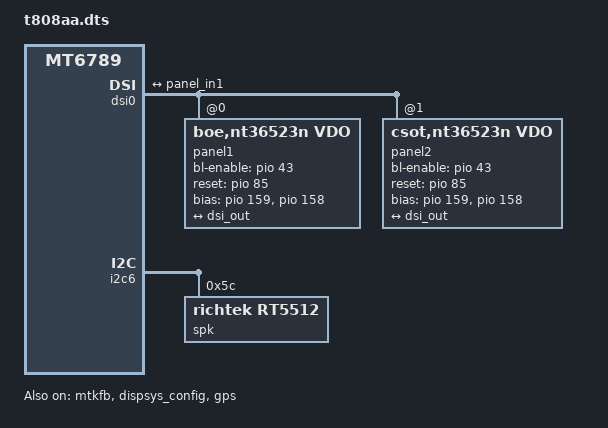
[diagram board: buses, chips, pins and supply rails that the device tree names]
// SPDX-License-Identifier: (GPL-2.0 OR MIT)
/*
 * Copyright (C) 2021 MediaTek Inc.
 */
/dts-v1/;
/plugin/;
#include <dt-bindings/interrupt-controller/arm-gic.h>
#include <dt-bindings/interrupt-controller/irq.h>
#include <dt-bindings/pinctrl/mt6789-pinfunc.h>
#include "mediatek/cust_mt6789_camera.dtsi"

&chosen {
};

&android {
	hardware = "mt8781";
};

&mtk_leds {
	compatible = "mediatek,disp-leds";
	backlight {
		led_mode = <4>;
		trans-bits = <11>;
		max-brightness = <255>;
		max-hw-brightness = <2047>;
	};
};

&pio {
	mtkfb_pins_lcd_bias_enp0: lcd_bias_enp0_gpio {
		pins_cmd_dat {
			pinmux = <PINMUX_GPIO159__FUNC_GPIO159>;
			slew-rate = <1>;
			output-high;
		};
	};

	mtkfb_pins_lcd_bias_enn0: lcd_bias_enn0_gpio {
		pins_cmd_dat {
			pinmux = <PINMUX_GPIO158__FUNC_GPIO158>;
			slew-rate = <1>;
			output-low;
		};
	};
	mtkfb_pins_gpio_bl_on: gpio_bl_on_gpio {
		pins_cmd_dat {
			pinmux = <PINMUX_GPIO43__FUNC_GPIO43>;
			slew-rate = <1>;
			output-low;
		};
	};
	mtkfb_pins_gpio_vddi_on: gpio_vddi_on_gpio {
		pins_cmd_dat {
			pinmux = <PINMUX_GPIO18__FUNC_GPIO18>;
			slew-rate = <1>;
			output-low;
		};
	};

	mtkfb_pins_lcm_rst_out1_gpio: lcm_rst_out1_gpio {
		pins_cmd_dat {
			pinmux = <PINMUX_GPIO85__FUNC_GPIO85>;
			slew-rate = <1>;
			output-high;
		};
	};

	mtkfb_pins_lcm_rst_out0_gpio: lcm_rst_out0_gpio {
		pins_cmd_dat {
			pinmux = <PINMUX_GPIO85__FUNC_GPIO85>;
			slew-rate = <1>;
			output-low;
		};
	};
	mtkfb_pins_lcm_dsi_te: lcm_dsi_te {
		pins_cmd_dat {
			pinmux = <PINMUX_GPIO83__FUNC_DSI_TE>;
		};
	};
};

&mtkfb {
	pinctrl-names = "lcd_bias_enp0_gpio", "lcd_bias_enn0_gpio","gpio_bl_on_gpio",

		"lcm_rst_out1_gpio", "lcm_rst_out0_gpio",
		"mode_te_te", "gpio_vddi_on_gpio";
	pinctrl-0 = <&mtkfb_pins_lcd_bias_enp0>;
	pinctrl-1 = <&mtkfb_pins_lcd_bias_enn0>;
	pinctrl-2 = <&mtkfb_pins_gpio_bl_on>;


	pinctrl-3 = <&mtkfb_pins_lcm_rst_out1_gpio>;
	pinctrl-4 = <&mtkfb_pins_lcm_rst_out0_gpio>;
	pinctrl-5 = <&mtkfb_pins_lcm_dsi_te>;
	pinctrl-6 = <&mtkfb_pins_gpio_vddi_on>;
	status = "okay";
};

&dispsys_config {
	pinctrl-names =
		"lcm_rst_out1_gpio", "lcm_rst_out0_gpio",
		"mode_te_te";
	pinctrl-0 = <&mtkfb_pins_lcm_rst_out1_gpio>;
	pinctrl-1 = <&mtkfb_pins_lcm_rst_out0_gpio>;
	pinctrl-2 = <&mtkfb_pins_lcm_dsi_te>;
	status = "okay";
};

&dsi0 {
	status = "okay";
	#address-cells = <1>;
	#size-cells = <0>;
	panel1@0 {
		compatible = "boe,nt36523n,vdo";
		reg = <0>;
		bl-enable-gpios = <&pio 43 0>;
		reset-gpios = <&pio 85 0>;
		bias-gpios = <&pio 159 0>,
		<&pio 158 0>;
		//gate-ic = <4831>;
		pinctrl-names = "default";
		port {
			panel_in1: endpoint {
				remote-endpoint = <&dsi_out>;
			};
		};
	};
	panel2@0 {
		compatible = "csot,nt36523n,vdo";
		reg = <1>;
		bl-enable-gpios = <&pio 43 0>;
		reset-gpios = <&pio 85 0>;
		bias-gpios = <&pio 159 0>,
		<&pio 158 0>;
		pinctrl-names = "default";
		port {
			panel_in2: endpoint {
				remote-endpoint = <&dsi_out>;
			};
		};
	};
	ports {
		port {
			dsi_out: endpoint {
				remote-endpoint = <&panel_in1>;
			};
		};
	};
};

/* GPS GPIO standardization start */
&pio {
	gps_pins_default: gps_default {
	};
	gps_l1_lna_pins_ol: gps_l1_lna@0 {
		pins_cmd_dat {
			pinmux = <PINMUX_GPIO25__FUNC_GPIO25>;
			output-low;
		};
	};
	gps_l1_lna_pins_dsp_ctrl: gps_l1_lna@1 {
		pins_cmd_dat {
			pinmux = <PINMUX_GPIO25__FUNC_GPS_L1_ELNA_EN>;
		};
	};
	gps_l1_lna_pins_oh: gps_l1_lna@2 {
		pins_cmd_dat {
			pinmux = <PINMUX_GPIO25__FUNC_GPIO25>;
			output-high;
		};
	};
	gps_l5_lna_pins_ol: gps_l5_lna@0 {
		pins_cmd_dat {
			pinmux = <PINMUX_GPIO26__FUNC_GPIO26>;
			output-low;
		};
	};
	gps_l5_lna_pins_dsp_ctrl: gps_l5_lna@1 {
		pins_cmd_dat {
			pinmux = <PINMUX_GPIO26__FUNC_GPS_L5_ELNA_EN>;
		};
	};
	gps_l5_lna_pins_oh: gps_l5_lna@2 {
		pins_cmd_dat {
			pinmux = <PINMUX_GPIO26__FUNC_GPIO26>;
			output-high;
		};
	};
};
&gps {
	pinctrl-names = "default",
		"gps_l1_lna_disable",
		"gps_l1_lna_dsp_ctrl",
		"gps_l1_lna_enable",
		"gps_l5_lna_disable",
		"gps_l5_lna_dsp_ctrl",
		"gps_l5_lna_enable";
	pinctrl-0 = <&gps_pins_default>;
	pinctrl-1 = <&gps_l1_lna_pins_ol>;
	pinctrl-2 = <&gps_l1_lna_pins_dsp_ctrl>;
	pinctrl-3 = <&gps_l1_lna_pins_oh>;
	pinctrl-4 = <&gps_l5_lna_pins_ol>;
	pinctrl-5 = <&gps_l5_lna_pins_dsp_ctrl>;
	pinctrl-6 = <&gps_l5_lna_pins_oh>;
	status = "okay";
};
/* GPS GPIO standardization end */

#include "mediatek/cust_mt6789_touch_1080x2400.dtsi"
#include "mediatek/cust_mt6789_camera_v4l2.dtsi"

&i2c6 {
	spk: speaker_amp@5c {
		compatible = "richtek,rt5512";
		#sound-dai-cells = <0>;
		reg = <0x5c>;
		status = "okay";
		sound-name-prefix = "Left";
	};
};

&sound {
	mediatek,spk-i2s = <3 0>;
	mediatek,speaker-codec {
		sound-dai = <&spk>;
	};
};

&mddriver {
	ref_args = "md_disable";
};

#include <t808aa/cust.dtsi>
#include "mediatek/tinno/tinno-t808aa-common.dtsi"
/*End of this file, DO NOT ADD ANYTHING HERE*/
